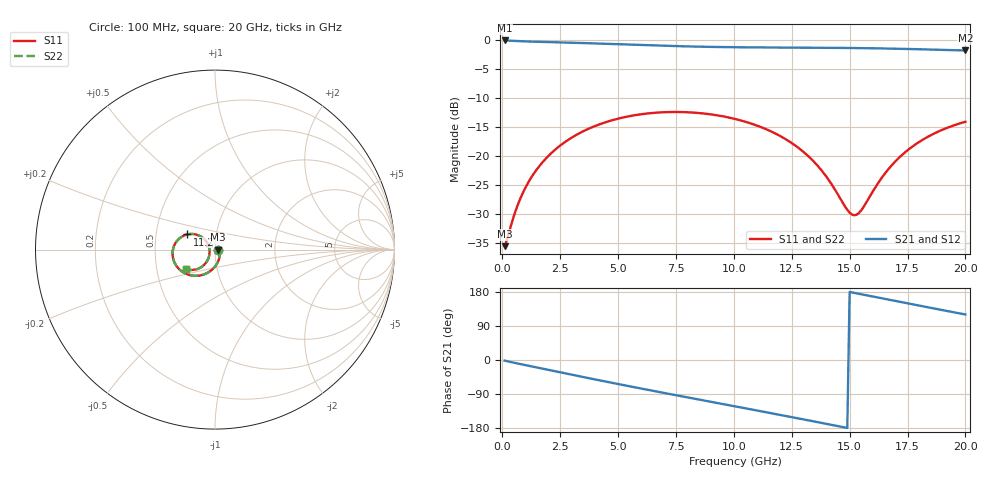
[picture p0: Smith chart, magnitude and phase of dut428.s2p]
! Touchstone file exported from HFSS 2026.1.0
!  File:  C:/ffzhzh/LocalFiles/Ansys_Project_Files/temp_train_TSV_RDL_428_1783096939_35180.aedt
!  Generated:  12:49:20 AM Jul  4, 2026
!  Design:  TSV_RDL
!  Project:  temp_train_TSV_RDL_428_1783096939_35180
! Variables:
!  h_bsmrdl = 5.64um
!  h_ox = 20um
!  h_rdl = 5um
!  h_sub = 63.38um
!  h_tmrdl = 2.95um
!  h_tsv = 63.38um
!  h_via = 3um
!  l_bsmrdl = 237.12um
!  l_sub = 4136.4um
!  l_tmrdl = 718.25um
!  m_sub = 200um
!  pitch = 28.4um
!  r_tsv = 10.61um
!  s_tmrdl = 10um
!  w_bsmrdl = 24.11um
!  w_sub = 500um
!  w_tmrdl = 26.57um
!  x_tsv_center1 = 731.535um
!  x_tsv_center2 = 992.765um
!  x_tsv_center3 = 1737.585um
!  x_tsv_center4 = 1998.815um
!  x_tsv_center5 = 2743.635um
!  x_tsv_center6 = 3004.865um
# GHz S MA R 50.000000
! Terminal data exported
! Port[1] = TM_RDL1_1_T1
! Port[2] = TM_RDL5_1_T1
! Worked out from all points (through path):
!   200 points, 100 MHz to 20 GHz, reference 50 ohm
!   highest |S21| = -0.15 dB at 100 MHz (marker M1); lowest = -1.9 dB at 20 GHz (marker M2)
!   group delay of S21, straight-line fit = 32.9 ps
!   lowest |S11| = -35.5 dB at 100 MHz (marker M3), VSWR 1.03, Z = 51.7 - j0.134 ohm
!   |S11| at or under -10 dB: start of sweep to end of sweep
!   |S22| runs from -35.5 to -12.4 dB; largest |S21 - S12| = 1.5e-14
!   S11 on the Smith chart (normalised r, x): 100 MHz: 1.03, -0.00; 11.2 GHz: 0.72, +0.13; 20 GHz: 0.70, -0.16
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0.1  0.01676 -4.4  0.9833 -1.5  0.9833 -1.5  0.01676 -4.4
! Gamma 0 0 0 0
! Port Impedance 50 0 50 0
0.7  0.03936 -48.5  0.9686 -9.7  0.9686 -9.7  0.03936 -48.5
1  0.05337 -63.7  0.9642 -13.5  0.9642 -13.5  0.05337 -63.7
1.4  0.07235 -77.9  0.9597 -18.6  0.9597 -18.6  0.07235 -77.9
2.3  0.1139 -98.8  0.9498 -30.0  0.9498 -30.0  0.114 -98.8
3.5  0.1631 -118.8  0.9339 -45.1  0.9339 -45.1  0.1632 -118.8
5.1  0.2114 -140.8  0.9102 -64.6  0.9102 -64.6  0.2115 -140.8
6.8  0.2365 -161.6  0.8869 -84.8  0.8869 -84.8  0.2365 -161.6
8.4  0.2346 -179.8  0.8703 -103.3  0.8703 -103.3  0.2346 -179.8
10.1  0.2068 162.2  0.8596 -122.9  0.8596 -122.9  0.2068 162.1
11.2  0.176 151.3  0.8559 -135.6  0.8559 -135.6  0.176 151.3
12.4  0.133 141.1  0.8536 -149.6  0.8536 -149.6  0.1329 141.0
13.4  0.09172 136.0  0.8518 -161.4  0.8518 -161.4  0.09161 135.8
14.1  0.06204 138.2  0.8502 -169.7  0.8502 -169.7  0.06185 137.9
14.9  0.0344 163.1  0.8476 -179.3  0.8476 -179.3  0.03403 162.9
15.2  0.03091 -175.1  0.8463 177.1  0.8463 177.1  0.0305 -175.0
15.5  0.03404 -153.0  0.8449 173.5  0.8449 173.5  0.03366 -152.6
16.2  0.05721 -128.4  0.8409 165.1  0.8409 165.1  0.05701 -128.0
16.7  0.07806 -124.7  0.8374 159.1  0.8374 159.1  0.07793 -124.3
17.3  0.1035 -125.6  0.8326 151.9  0.8326 151.9  0.1034 -125.2
18.1  0.1356 -130.3  0.8254 142.4  0.8254 142.4  0.1356 -130.0
20  0.1966 -146.7  0.8062 120.1  0.8062 120.1  0.1967 -146.4
